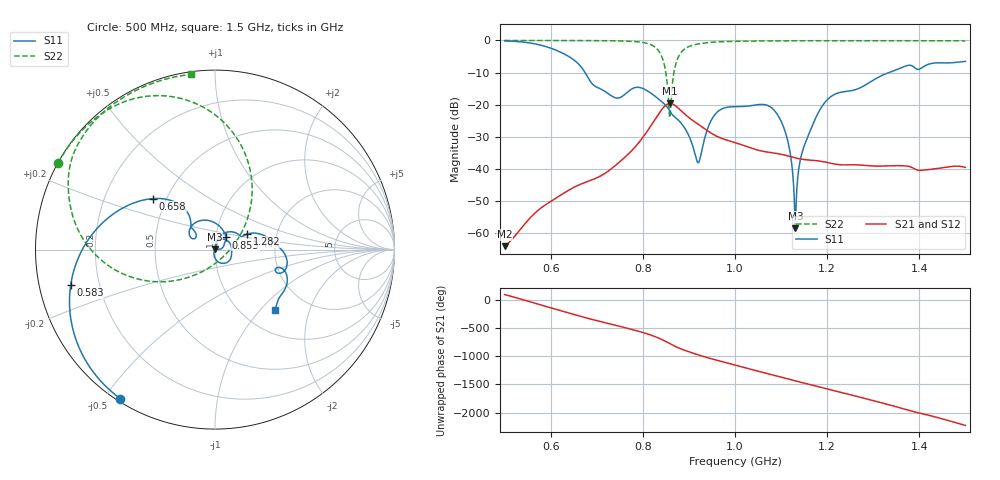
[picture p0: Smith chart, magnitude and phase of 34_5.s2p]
! TOUCHSTONE file generated by CST MICROWAVE STUDIO
! Date and time: Mon Oct 26 12:29:31 2020
! Project name: Scenario_1_Circular_Tissue_out_of_Line.cst
! Parameters = {dy1=226.253; L_HA=400; MT=2.54; Rad_Dielectric=30; Rad_Lower=7.3; Rad_Upper=30; a_HA=580; a_WG=246; b_HA=500; b_WG=121; c_HA=0; c_WG=187; d_feed=85; dx1=866; h_feed=15; h_lower=18; h_upper=40}
! Header version: 2018
! Port assignment regex: !\s*Touchstone port\s*([0-9]+)\s*=\s*(CST MWS port|CST DS port)\s*([0-9]+|Zmin|Zmax)\s*\(\"(.*)\"\)(\s*mode\s*([0-9]+))?.*
! Touchstone port assignment:
! Touchstone port 1 = CST MWS port 1 ("")
! Touchstone port 2 = CST MWS port 2 ("")
# GHz S DB R 50
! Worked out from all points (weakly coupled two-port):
!   1001 points, 500 MHz to 1.5 GHz, reference 50 ohm
!   highest |S21| = -19.63 dB at 859 MHz (marker M1); lowest = -64.1 dB at 500 MHz (marker M2)
!   lowest |S11| = -58.6 dB at 1.131 GHz (marker M3), VSWR 1.00, Z = 49.9 + j0.07 ohm
!   |S11| at or under -10 dB: 674.6 MHz to 1.334 GHz (659.6 MHz wide, 65.7 % of centre)
!   |S22| runs from -24.0 to 0.0 dB; largest |S21 - S12| = 9.7e-06
!   S11 on the Smith chart (normalised r, x): 500 MHz: 0.01, -0.55; 583 MHz: 0.10, -0.12; 658 MHz: 0.42, +0.30; 853 MHz: 1.12, +0.15; 1.282 GHz: 1.41, +0.26; 1.5 GHz: 1.39, -1.20
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0.5  -0.15 -122.4  -64.11 90.9  -64.11 90.9  -0.01 151.1
0.583  -1.65 -166.3  -51.79 -104.7  -51.79 -104.7  -0.02 145.3
0.658  -7.01 140.4  -45.23 81.6  -45.23 81.6  -0.04 139.2
0.667  -8.41 133.0  -44.67 60.5  -44.67 60.5  -0.04 138.3
0.738  -17.75 143.6  -39.25 -86.4  -39.25 -86.4  -0.12 129.6
0.779  -14.89 141.5  -33.87 -173.1  -33.87 -173.1  -0.32 120.6
0.834  -18.25 71.9  -22.94 41.4  -22.94 41.4  -3.18 84.4
0.853  -20.79 47.7  -19.87 -33.9  -19.87 -33.9  -13.52 38.4
0.859  -22.09 40.4  -19.63 -60.2  -19.63 -60.2  -23.99 -65.9
0.878  -24.99 26.5  -21.26 -135.5  -21.26 -135.5  -4.89 -168.7
0.92  -38.11 42.9  -26.11 103.7  -26.11 103.7  -1.10 157.9
0.954  -23.55 60.3  -29.37 22.4  -29.37 22.4  -0.52 148.2
1  -20.64 4.7  -31.83 -78.1  -31.83 -78.1  -0.28 140.2
1.091  -22.86 -74.4  -35.23 88.3  -35.23 88.3  -0.14 130.4
1.115  -31.62 -102.6  -36.00 36.3  -36.00 36.3  -0.12 128.4
1.131  -58.59 143.4  -36.60 3.0  -36.60 3.0  -0.11 127.0
1.144  -35.79 69.5  -36.98 -23.2  -36.98 -23.2  -0.10 125.9
1.167  -26.84 74.8  -37.34 -70.3  -37.34 -70.3  -0.10 124.1
1.207  -17.62 49.2  -38.25 -155.2  -38.25 -155.2  -0.09 121.0
1.282  -13.97 25.7  -38.96 50.3  -38.96 50.3  -0.08 115.3
1.334  -10.01 10.0  -39.08 -59.7  -39.08 -59.7  -0.09 111.4
1.5  -6.53 -45.3  -39.57 -66.3  -39.58 -66.3  -0.13 97.8
